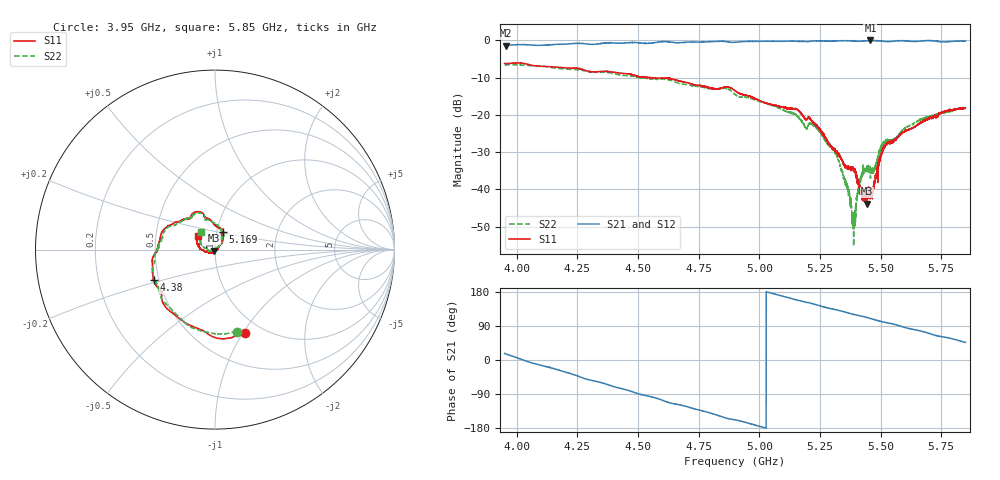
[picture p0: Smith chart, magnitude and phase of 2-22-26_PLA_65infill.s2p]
# GHZ S RI R 50.000000000000
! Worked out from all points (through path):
!   4501 points, 3.95 GHz to 5.85 GHz, reference 50 ohm
!   highest |S21| = 0.00 dB at 5.459 GHz (marker M1); lowest = -1.4 dB at 3.954 GHz (marker M2)
!   group delay of S21, straight-line fit = 478 ps
!   lowest |S11| = -43.8 dB at 5.443 GHz (marker M3), VSWR 1.01, Z = 49.7 - j0.537 ohm
!   |S11| at or under -10 dB: 4.552733 GHz to 4.553528 GHz (795 kHz wide, 0.0175 % of centre); 4.557218 GHz to 4.561348 GHz (4.13 MHz wide, 0.0906 % of centre); 4.561 GHz to end of sweep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
!   |S22| runs from -55.3 to -6.5 dB; largest |S21 - S12| = 0.044
!   S11 on the Smith chart (normalised r, x): 3.95 GHz: 0.83, -1.02; 4.38 GHz: 0.47, -0.19; 5.169 GHz: 1.07, +0.21; 5.85 GHz: 0.82, +0.13
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3.95  0.1646 -0.4636  0.8192 0.2562  0.8079 0.2467  0.1211 -0.4568
3.9538  0.1541 -0.464  0.8185 0.2388  0.8081 0.2415  0.1069 -0.4569
4.0488  -0.0327 -0.4737  0.8699 -0.0751  0.8823 -0.0606  -0.0539 -0.4581
4.267089  -0.2919 -0.2902  0.6338 -0.6575  0.6493 -0.6549  -0.302 -0.2612
4.379822  -0.3411 -0.1691  0.3763 -0.8474  0.3928 -0.8295  -0.347 -0.1259
4.583756  -0.3062 0.0548  -0.2027 -0.9287  -0.1795 -0.9276  -0.2933 0.071
4.787689  -0.1606 0.1723  -0.7113 -0.6421  -0.6966 -0.6504  -0.147 0.1746
4.9  -0.0663 0.2004  -0.8737 -0.3561  -0.873 -0.3634  -0.0543 0.1808
5.024556  -0.0072 0.1447  -0.9751 -0.0133  -0.974 -0.0348  0.00219 0.1445
5.168533  0.045 0.0983  -0.8902 0.391  -0.8945 0.3775  0.0466 0.0737
5.217089  0.0423 0.0713  -0.8415 0.5056  -0.8489 0.4854  0.0369 0.0654
5.319689  0.024 0.0209  -0.661 0.7306  -0.6623 0.7303  0.0225 0.0177
5.364444  0.0151 0.0129  -0.5633 0.8176  -0.5719 0.8083  0.00635 0.00893
5.388933  0.0176 0.0081  -0.4934 0.8429  -0.5085 0.8343  0.00334 -0.00306
5.419333  0.00686 -0.00827  -0.4295 0.8789  -0.4491 0.8654  -0.0123 -0.00518
5.442978  -0.00348 -0.0054  -0.3759 0.915  -0.4015 0.9063  -0.0201 0.00416
5.4586  -0.00829 -0.00553  -0.3334 0.9431  -0.3601 0.9336  -0.0139 0.00236
5.4776  -0.00649 -0.0106  -0.2725 0.9583  -0.2993 0.9511  -0.0183 -0.0021
5.507156  -0.0244 -0.0206  -0.1852 0.9561  -0.2069 0.9599  -0.039 -0.00507
5.533756  -0.0415 -0.0125  -0.124 0.9589  -0.1409 0.9585  -0.0452 0.0089
5.6904  -0.0858 0.00877  0.3053 0.9452  0.2806 0.951  -0.0825 0.0446
5.85  -0.0956 0.0783  0.6721 0.7089  0.6585 0.7254  -0.0798 0.0971
